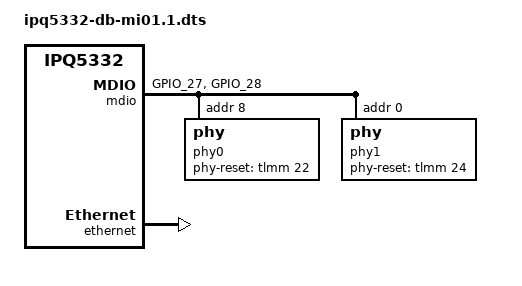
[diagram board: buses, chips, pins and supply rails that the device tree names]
// SPDX-License-Identifier: GPL-2.0-only
/*
* Copyright (c) 2023, Qualcomm Innovation Center, Inc. All rights reserved.
*/

#include "ipq5332-default.dts"

/ {
	config_name = "config@db-mi01.1", "config-db-mi01.1";

	soc: soc {
		tlmm: pinctrl@1000000 {
			mdio_pinmux: mdio {
				mdc {
					pins = "GPIO_27";
					function = "mdc_1";
					drive-strength = <DRIVE_STRENGTH_8MA>;
					bias-disable;
				};

				mdio {
					pins = "GPIO_28";
					function = "mdio_1";
					drive-strength = <DRIVE_STRENGTH_8MA>;
					bias-pull-up;
				};
			};

			phy_rst_pinmux: phy_rst {
				qti_aquantia_p1_rst {
					pins = "GPIO_22";
					drive-strength = <DRIVE_STRENGTH_8MA>;
					bias-pull-up;
				};

				qti_aquantia_p2_rst {
					pins = "GPIO_24";
					drive-strength = <DRIVE_STRENGTH_8MA>;
					bias-pull-up;
				};
			};
		};

		mdio: mdio@90000 {
			pinctrl-names = "default";
			pinctrl-0 = <&mdio_pinmux>;
			status = "okay";

			phy0: phy@8 {
				phy-reset-gpio = <&tlmm 22 0>;
				reg = <8>;
				phy_id = <2>;
				phy-mode = "usxgmii";
				id = <1>;
				uniphy_id = <0>;
				uniphy_type = <0>;
				xgmac;
			};

			phy1: phy@0 {
				phy-reset-gpio = <&tlmm 24 0>;
				reg = <0>;
				phy_id = <2>;
				phy-mode = "usxgmii";
				id = <2>;
				uniphy_id = <1>;
				uniphy_type = <0>;
				xgmac;
			};
		};

		ethernet: nss-switch {
			phy-handle0 = <&phy0>;
			phy-handle1 = <&phy1>;
			status = "okay";
		};
	};
};
